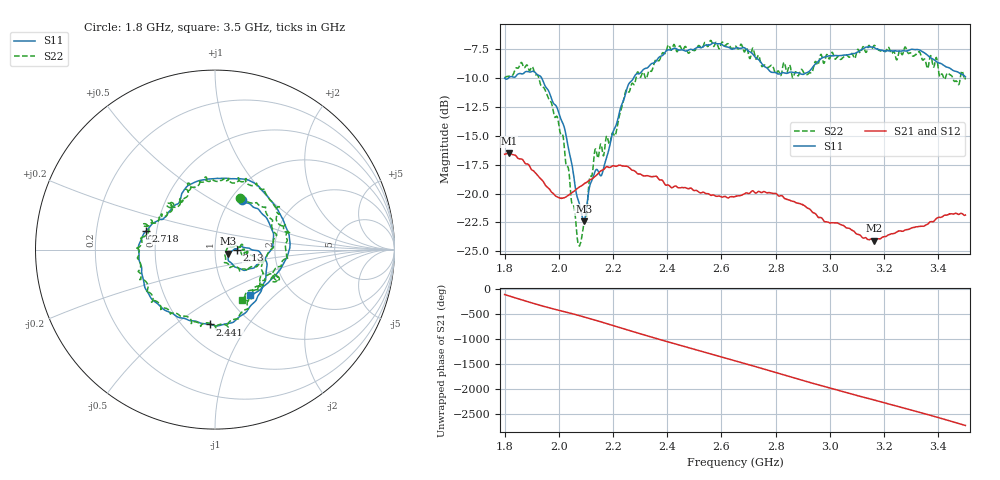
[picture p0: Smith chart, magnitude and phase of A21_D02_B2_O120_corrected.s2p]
! Created with skrf 1.9.0 (http://scikit-rf.org).
# Hz S RI R 50.0
!freq ReS11 ImS11 ReS21 ImS21 ReS12 ImS12 ReS22 ImS22
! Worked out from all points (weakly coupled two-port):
!   1601 points, 1.8 GHz to 3.5 GHz, reference 50 ohm
!   highest |S21| = -16.52 dB at 1.816 GHz (marker M1); lowest = -24.1 dB at 3.162 GHz (marker M2)
!   lowest |S11| = -22.4 dB at 2.092 GHz (marker M3), VSWR 1.16, Z = 57.7 - j2.62 ohm
!   |S11| at or under -10 dB: start of sweep to 1.815 GHz; 1.937 GHz to 2.276 GHz (339.4 MHz wide, 16.1 % of centre)
!   |S22| runs from -24.5 to -6.8 dB; largest |S21 - S12| = 0.0025
!   S11 on the Smith chart (normalised r, x): 1.8 GHz: 1.13, +0.69; 2.13 GHz: 1.28, -0.01; 2.441 GHz: 0.67, -0.68; 2.718 GHz: 0.44, +0.11; 3.5 GHz: 1.26, -0.71
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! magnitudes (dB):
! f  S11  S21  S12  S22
! 1.8 GHz  -10.0  -16.6  -16.6  -9.9
! 1.816 GHz  -10.0  -16.5  -16.5  -9.9
! 1.902 GHz  -9.4  -18.0  -17.9  -9.0
! 1.968 GHz  -11.4  -19.7  -19.7  -12.0
! 2.021 GHz  -14.3  -20.4  -20.3  -16.2
! 2.071 GHz  -20.5  -19.5  -19.5  -24.3
! 2.084 GHz  -21.7  -19.3  -19.3  -23.9
! 2.092 GHz  -22.4  -19.2  -19.2  -22.7
! 2.13 GHz  -18.3  -18.6  -18.6  -16.7
! 2.161 GHz  -18.2  -18.0  -17.9  -16.4
! 2.209 GHz  -14.2  -17.6  -17.6  -14.9
! 2.259 GHz  -10.5  -17.7  -17.7  -11.2
! 2.367 GHz  -8.3  -18.7  -18.7  -8.5
! 2.441 GHz  -7.6  -19.5  -19.5  -7.5
! 2.65 GHz  -7.4  -20.3  -20.2  -7.2
! 2.718 GHz  -8.0  -19.8  -19.7  -7.5
! 2.808 GHz  -9.6  -20.1  -20.1  -9.4
! 2.934 GHz  -9.2  -21.6  -21.5  -9.5
! 3.162 GHz  -7.4  -24.1  -24.0  -7.2
! 3.217 GHz  -7.7  -23.6  -23.5  -7.4
! 3.329 GHz  -7.6  -22.8  -22.8  -7.7
! 3.5 GHz  -9.9  -21.9  -21.8  -10.0
